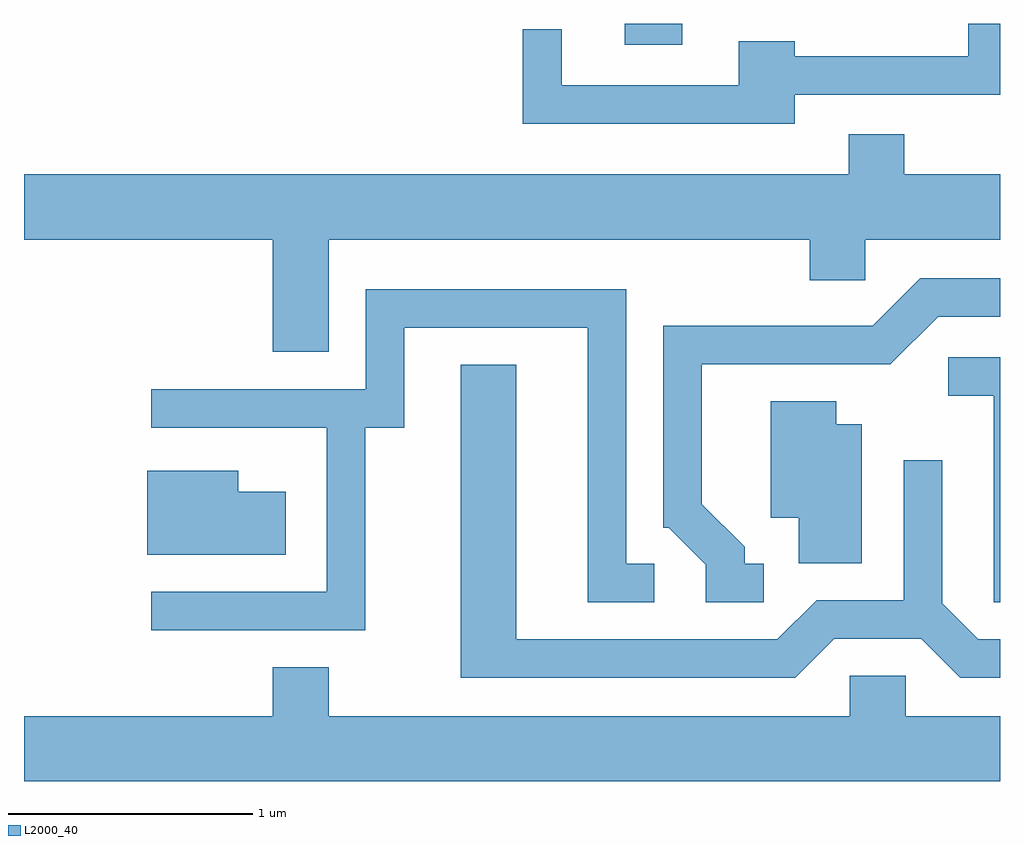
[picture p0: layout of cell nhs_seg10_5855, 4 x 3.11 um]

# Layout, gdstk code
import gdstk
lib = gdstk.Library(unit=1e-6, precision=1e-09)
def R(c, l, rs):  # rectangles x0, y0, x1, y1
    for r in rs: c.add(gdstk.rectangle(r[:2], r[2:], *l))
def P(c, l, *ps):  # polygons
    for p in ps: c.add(gdstk.Polygon(p, *l))
L2000_40 = (2000, 40)

nhs_seg10_5855 = lib.new_cell('nhs_seg10_5855')
R(nhs_seg10_5855, L2000_40, [(360.073,2172.436,360.309,2172.522)])
P(nhs_seg10_5855, L2000_40, [(360.769,2172.231),(361.611,2172.231),(361.611,2172.522),(361.481,2172.522),(361.481,2172.389),(360.769,2172.389),(360.769,2172.449),(360.541,2172.449),(360.541,2172.269),(359.814,2172.269),(359.814,2172.498),(359.656,2172.498),(359.656,2172.111),(360.769,2172.111)],
  [(358.859,2171.636),(360.831,2171.636),(360.831,2171.471),(361.059,2171.471),(361.059,2171.636),(361.611,2171.636),(361.611,2171.904),(361.219,2171.904),(361.219,2172.069),(360.991,2172.069),(360.991,2171.904),(357.611,2171.904),(357.611,2171.636),(358.631,2171.636),(358.631,2171.176),(358.859,2171.176)],
  [(360.643,2170.309),(360.564,2170.309),(360.564,2170.377),(360.389,2170.552),(360.389,2171.126),(361.162,2171.126),(361.357,2171.321),(361.611,2171.321),(361.611,2171.479),(361.284,2171.479),(361.089,2171.284),(360.231,2171.284),(360.231,2170.456),(360.254,2170.456),(360.406,2170.304),(360.406,2170.151),(360.643,2170.151)],
  [(359.009,2170.866),(359.169,2170.866),(359.169,2171.276),(359.921,2171.276),(359.921,2170.151),(360.193,2170.151),(360.193,2170.309),(360.079,2170.309),(360.079,2171.434),(359.011,2171.434),(359.011,2171.024),(358.133,2171.024),(358.133,2170.866),(358.851,2170.866),(358.851,2170.194),(358.133,2170.194),(358.133,2170.036),(359.009,2170.036)],
  [(361.611,2171.154),(361.398,2171.154),(361.398,2170.996),(361.586,2170.996),(361.586,2170.151),(361.611,2170.151)],
  [(360.932,2170.001),(361.289,2170.001),(361.449,2169.841),(361.611,2169.841),(361.611,2169.999),(361.522,2169.999),(361.374,2170.147),(361.374,2170.733),(361.216,2170.733),(361.216,2170.159),(360.859,2170.159),(360.699,2169.999),(359.629,2169.999),(359.629,2171.124),(359.401,2171.124),(359.401,2169.841),(360.772,2169.841)],
  [(361.044,2170.879),(360.939,2170.879),(360.939,2170.974),(360.671,2170.974),(360.671,2170.496),(360.786,2170.496),(360.786,2170.311),(361.044,2170.311)],
  [(358.684,2170.604),(358.489,2170.604),(358.489,2170.689),(358.116,2170.689),(358.116,2170.346),(358.684,2170.346)],
  [(361.611,2169.684),(361.224,2169.684),(361.224,2169.849),(360.996,2169.849),(360.996,2169.684),(358.859,2169.684),(358.859,2169.884),(358.631,2169.884),(358.631,2169.684),(357.611,2169.684),(357.611,2169.416),(361.611,2169.416)])

lib.write_gds('nhs_seg10_5855.gds')
